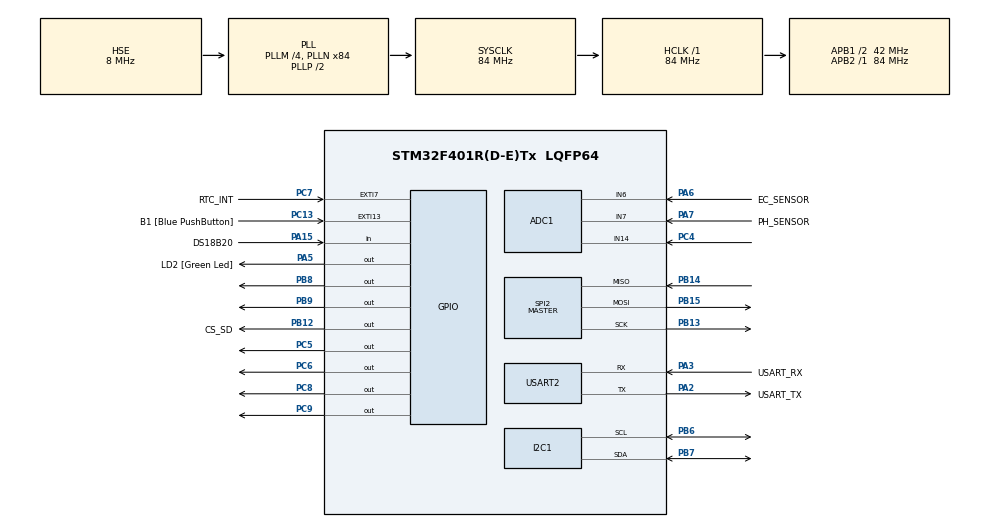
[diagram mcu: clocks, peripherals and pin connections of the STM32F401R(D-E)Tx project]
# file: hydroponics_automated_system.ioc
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ADC1.Channel-2\#ChannelRegularConversion=ADC_CHANNEL_6
ADC1.Channel-3\#ChannelRegularConversion=ADC_CHANNEL_7
ADC1.Channel-4\#ChannelRegularConversion=ADC_CHANNEL_14
ADC1.ContinuousConvMode=ENABLE
ADC1.DMAContinuousRequests=ENABLE
ADC1.EOCSelection=ADC_EOC_SEQ_CONV
ADC1.NbrOfConversion=3
ADC1.NbrOfConversionFlag=1
ADC1.Rank-2\#ChannelRegularConversion=1
ADC1.Rank-3\#ChannelRegularConversion=2
ADC1.Rank-4\#ChannelRegularConversion=3
ADC1.SamplingTime-2\#ChannelRegularConversion=ADC_SAMPLETIME_144CYCLES
ADC1.SamplingTime-3\#ChannelRegularConversion=ADC_SAMPLETIME_144CYCLES
ADC1.SamplingTime-4\#ChannelRegularConversion=ADC_SAMPLETIME_144CYCLES
ADC1.ScanConvMode=ENABLE
ADC1.master=1
Dma.ADC1.0.Direction=DMA_PERIPH_TO_MEMORY
Dma.ADC1.0.FIFOMode=DMA_FIFOMODE_DISABLE
Dma.ADC1.0.Instance=DMA2_Stream0
Dma.ADC1.0.MemDataAlignment=DMA_MDATAALIGN_HALFWORD
Dma.ADC1.0.MemInc=DMA_MINC_ENABLE
Dma.ADC1.0.Mode=DMA_CIRCULAR
Dma.ADC1.0.PeriphDataAlignment=DMA_PDATAALIGN_HALFWORD
Dma.ADC1.0.PeriphInc=DMA_PINC_DISABLE
Dma.ADC1.0.Priority=DMA_PRIORITY_LOW
Dma.Request0=ADC1
FREERTOS.Tasks01=defaultTask,24,128,StartDefaultTask,Default,NULL,Dynamic,NULL,NULL
FREERTOS.configENABLE_FPU=1
I2C1.I2C_Mode=I2C_Fast
Mcu.Family=STM32F4
Mcu.Name=STM32F401R(D-E)Tx
Mcu.Package=LQFP64
NVIC.DMA2_Stream0_IRQn=true\:5\:0\:false\:false\:true\:true\:false\:true\:true
NVIC.EXTI15_10_IRQn=true\:5\:0\:false\:false\:true\:true\:true\:true\:true
NVIC.EXTI9_5_IRQn=true\:5\:0\:false\:false\:true\:true\:true\:true\:true
NVIC.PriorityGroup=NVIC_PRIORITYGROUP_4
NVIC.TIM3_IRQn=true\:15\:0\:false\:false\:true\:false\:false\:true\:true
NVIC.TimeBase=TIM3_IRQn
NVIC.TimeBaseIP=TIM3
PA13.GPIO_Label=TMS
PA13.Mode=Serial_Wire
PA13.Signal=SYS_JTMS-SWDIO
PA14.GPIO_Label=TCK
PA14.Mode=Serial_Wire
PA14.Signal=SYS_JTCK-SWCLK
PA15.GPIO_Label=DS18B20
PA15.Signal=GPIO_Input
PA2.GPIO_Label=USART_TX
PA2.GPIO_Mode=GPIO_MODE_AF_PP
PA2.GPIO_PuPd=GPIO_NOPULL
PA2.GPIO_Speed=GPIO_SPEED_FREQ_LOW
PA2.Mode=Asynchronous
PA2.Signal=USART2_TX
PA3.GPIO_Label=USART_RX
PA3.GPIO_Mode=GPIO_MODE_AF_PP
PA3.GPIO_PuPd=GPIO_NOPULL
PA3.GPIO_Speed=GPIO_SPEED_FREQ_LOW
PA3.Mode=Asynchronous
PA3.Signal=USART2_RX
PA5.GPIO_Label=LD2 [Green Led]
PA5.GPIO_Mode=GPIO_MODE_OUTPUT_PP
PA5.GPIO_PuPd=GPIO_NOPULL
PA5.GPIO_Speed=GPIO_SPEED_FREQ_LOW
PA5.Signal=GPIO_Output
PA6.GPIO_Label=EC_SENSOR
PA6.Signal=ADCx_IN6
PA7.GPIO_Label=PH_SENSOR
PA7.Signal=ADCx_IN7
PB12.GPIO_Label=CS_SD
PB12.GPIO_Speed=GPIO_SPEED_FREQ_HIGH
PB12.Signal=GPIO_Output
PB13.Mode=Full_Duplex_Master
PB13.Signal=SPI2_SCK
PB14.Mode=Full_Duplex_Master
PB14.Signal=SPI2_MISO
PB15.Mode=Full_Duplex_Master
PB15.Signal=SPI2_MOSI
PB3.GPIO_Label=SWO
PB3.Signal=SYS_JTDO-SWO
PB6.Mode=I2C
PB6.Signal=I2C1_SCL
PB7.Mode=I2C
PB7.Signal=I2C1_SDA
PB8.Signal=GPIO_Output
PB9.Signal=GPIO_Output
PC13-ANTI_TAMP.GPIO_Label=B1 [Blue PushButton]
PC13-ANTI_TAMP.GPIO_ModeDefaultEXTI=GPIO_MODE_IT_FALLING
PC13-ANTI_TAMP.GPIO_PuPd=GPIO_NOPULL
PC13-ANTI_TAMP.Signal=GPXTI13
PC14-OSC32_IN.Mode=LSE-External-Oscillator
PC14-OSC32_IN.Signal=RCC_OSC32_IN
PC15-OSC32_OUT.Mode=LSE-External-Oscillator
PC15-OSC32_OUT.Signal=RCC_OSC32_OUT
PC4.Signal=ADCx_IN14
PC5.Signal=GPIO_Output
PC6.Signal=GPIO_Output
PC7.GPIO_Label=RTC_INT
PC7.GPIO_ModeDefaultEXTI=GPIO_MODE_IT_FALLING
PC7.GPIO_PuPd=GPIO_PULLUP
PC7.Signal=GPXTI7
PC8.Signal=GPIO_Output
PC9.Signal=GPIO_Output
PH0\ -\ OSC_IN.Mode=HSE-External-Clock-Source
PH0\ -\ OSC_IN.Signal=RCC_OSC_IN
PH1\ -\ OSC_OUT.Mode=HSE-External-Clock-Source
PH1\ -\ OSC_OUT.Signal=RCC_OSC_OUT
ProjectManager.HeapSize=0x200
ProjectManager.StackSize=0x400
ProjectManager.TargetToolchain=CMake
RCC.48MHZClocksFreq_Value=24000000
RCC.AHBFreq_Value=84000000
RCC.APB1CLKDivider=RCC_HCLK_DIV2
RCC.APB1Freq_Value=42000000
RCC.APB1TimFreq_Value=84000000
RCC.APB2Freq_Value=84000000
RCC.APB2TimFreq_Value=84000000
RCC.CortexFreq_Value=84000000
RCC.HCLKFreq_Value=84000000
RCC.HSE_VALUE=8000000
RCC.HSI_VALUE=16000000
RCC.PLLM=4
RCC.PLLN=84
RCC.PLLQ=7
RCC.PLLSourceVirtual=RCC_PLLSOURCE_HSE
RCC.SYSCLKFreq_VALUE=84000000
RCC.SYSCLKSource=RCC_SYSCLKSOURCE_PLLCLK
RCC.VCOOutputFreq_Value=168000000
SH.ADCx_IN14.0=ADC1_IN14,IN14
SH.ADCx_IN6.0=ADC1_IN6,IN6
SH.ADCx_IN7.0=ADC1_IN7,IN7
SPI2.BaudRatePrescaler=SPI_BAUDRATEPRESCALER_4
SPI2.Direction=SPI_DIRECTION_2LINES
SPI2.Mode=SPI_MODE_MASTER
SPI2.VirtualType=VM_MASTER
TIM1.Prescaler=83
USART2.VirtualMode=VM_ASYNC
VP_FREERTOS_VS_CMSIS_V2.Mode=CMSIS_V2
VP_SYS_VS_tim3.Mode=TIM3
VP_TIM1_VS_ClockSourceINT.Mode=Internal
board=NUCLEO-F401RE

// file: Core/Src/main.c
/* USER CODE BEGIN Header */
/**
  ******************************************************************************
  * @file           : main.c
  * @brief          : Main program body
  ******************************************************************************
  * @attention
  *
  * Copyright (c) 2026 STMicroelectronics.
  * All rights reserved.
  *
  * This software is licensed under terms that can be found in the LICENSE file
  * in the root directory of this software component.
  * If no LICENSE file comes with this software, it is provided AS-IS.
  *
  ******************************************************************************
  */
/* USER CODE END Header */
#include "main.h"
#include "cmsis_os.h"

/* USER CODE BEGIN Includes */
#include "st7066u_lcd_controller/st7066u_lcd_controller.h"
#include "display_iface/display_iface.h"
#include "i2c_manager/i2c_manager.h"
#include "bh1750/bh1750.h"
#include "sht30/sht30.h"
#include "analog_manager/analog_manager.h"
#include "ec_sensor_iface/ec_sensor_iface.h"
#include "ph_sensor_iface/ph_sensor_iface.h"
#include "light_sensor_iface/light_sensor_iface.h"
#include "temp_hum_sensor_iface/temp_hum_sensor_iface.h"
#include <stdio.h>

/* USER CODE END Includes */

ADC_HandleTypeDef hadc1;
DMA_HandleTypeDef hdma_adc1;

I2C_HandleTypeDef hi2c1;

SPI_HandleTypeDef hspi2;

TIM_HandleTypeDef htim1;

UART_HandleTypeDef huart2;

/* Definitions for defaultTask */

void SystemClock_Config(void);
static void MX_GPIO_Init(void);
static void MX_DMA_Init(void);
static void MX_USART2_UART_Init(void);
static void MX_I2C1_Init(void);
static void MX_TIM1_Init(void);
static void MX_ADC1_Init(void);
static void MX_SPI2_Init(void);

/* USER CODE BEGIN PFP */

//volatile bool rtc_int_flag = false;
//void HAL_GPIO_EXTI_Callback(uint16_t GPIO_Pin){
//	if(GPIO_Pin == RTC_INT_Pin){
//		//Read alarm flags
//		rtc_int_flag = true;
//	}
//}
/* USER CODE END PFP */

/* USER CODE BEGIN 0 */

void display_task(void *pvParameters){
	st7066u_lcd_controller_t lcd = {	.db_line[ST7066U_DATA_BUS_LINE_1] = {.port = GPIOC, .pin = GPIO_PIN_5},
										.db_line[ST7066U_DATA_BUS_LINE_2] = {.port = GPIOC, .pin = GPIO_PIN_6},
										.db_line[ST7066U_DATA_BUS_LINE_3] = {.port = GPIOC, .pin = GPIO_PIN_8},
										.db_line[ST7066U_DATA_BUS_LINE_4] = {.port = GPIOC, .pin = GPIO_PIN_9},
										.enable 						  = {.port = GPIOB, .pin = GPIO_PIN_8},
										.rs 							  = {.port = GPIOB, .pin = GPIO_PIN_9},
										.is_initialized 				  = false									};

	display_iface_t iface = {.dev = &lcd};
	display_iface_status_t status;
	st7066u_init(&lcd);
	status = display_iface_init(&iface);

	status = display_iface_write_line(&iface, 0, "[ Monitoring ]");
	status = display_iface_write_line(&iface, 1, "  Control");
	status = display_iface_write_line(&iface, 2, "  Config");
	status = display_iface_write_line(&iface, 3, "  Logs");
	HAL_Delay(1000);
	status = display_iface_write_line(&iface, 0, "  Monitoring  ");
	status = display_iface_write_line(&iface, 1, "[ Control ]");
	status = display_iface_write_line(&iface, 2, "  Config");
	status = display_iface_write_line(&iface, 3, "  Logs");
	HAL_Delay(1000);
	status = display_iface_write_line(&iface, 0, "  Monitoring  ");
	status = display_iface_write_line(&iface, 1, "  Control  ");
	status = display_iface_write_line(&iface, 2, "[ Config ]");
	status = display_iface_write_line(&iface, 3, "  Logs");
	HAL_Delay(1000);
	status = display_iface_write_line(&iface, 0, "  Monitoring  ");
	status = display_iface_write_line(&iface, 1, "  Control  ");
	status = display_iface_write_line(&iface, 2, "  Config  ");
	status = display_iface_write_line(&iface, 3, "[ Logs ]");
	HAL_Delay(1000);
	status = display_iface_write_line(&iface, 0, "[ Monitoring ]");
	status = display_iface_write_line(&iface, 1, "  Control  ");
	status = display_iface_write_line(&iface, 2, "  Config  ");
	status = display_iface_write_line(&iface, 3, "  Logs  ");
	HAL_Delay(1000);
	status = display_iface_write_line(&iface, 0, "  Monitoring  ");
	HAL_Delay(200);
	status = display_iface_write_line(&iface, 0, "[ Monitoring ]");
	HAL_Delay(1000);
	status = display_iface_write_line(&iface, 0, "Temperature:   ");
	status = display_iface_write_line(&iface, 1, "Humidity: ");
	status = display_iface_write_line(&iface, 2, "pH:      ");
	status = display_iface_write_line(&iface, 3, "EC:     ");

	while(1){
		vTaskDelay(pdMS_TO_TICKS(10));
	}
}

//Prueba
void sensor_task(void *pvParameter){
	i2c_manager_t mgr;
	static analog_manager_t analog_mgr;

	i2c_manager_init(&mgr, &hi2c1, 10);

	bool is_data_ready;

	//SHT30 configuration
	sht30_config_t sht30_cfg = {.mgr = &mgr, .clk_stretching = SHT30_CLK_STRETCHING_DISABLED,
								.repeatability = SHT30_HIGH_REPEATABILITY, .dev_address = 0x44 << 1	};
	sht30_t sht30_sensor;

	//BH1750 configuration
	bh1750_config_t bh1750_cfg = {.mgr = &mgr, .res_mode = BH1750_RESOLUTION_HIGH, .dev_address = 0x23 << 1};
	bh1750_t bh1750_sensor;

	//Analog manager config
	analog_manager_config_t analog_cfg = {.hadc = &hadc1, .adc_resolution = 4096, .vref = 3.3f, .channel_count = 3,
										  .signal_map = {ANALOG_SIGNAL_EC, ANALOG_SIGNAL_PH, ANALOG_SIGNAL_CT_CIRCULATION}};
	//EC sensor
	ec_sensor_iface_t ec_sensor;
	ec_sensor_iface_data_t ec_data;
	ec_sensor_iface_calibration_t calibration = {.slope = 2.0f, .offset = 0.0f};

	//PH sensor
	ph_sensor_iface_t ph_sensor;
	ph_sensor_iface_data_t ph_data;
	ph_sensor_iface_calibration_t ph_calib = {.slope_25 = 1.0f, .offset = 0.0f};

	//Light sensor
	light_sensor_iface_t light_sensor;
	light_sensor_iface_data_t light_data;

	//Temperature and hum sensor
	temp_hum_sensor_iface_t temp_hum_sensor;
	temp_hum_sensor_iface_data_t temp_hum_data;

	//Middleware init
	analog_manager_init(&analog_mgr, &analog_cfg);

	//Driver init
	sht30_init(&sht30_sensor, &sht30_cfg);
	bh1750_init(&bh1750_sensor, &bh1750_cfg);

	//Iface init
	ec_sensor_iface_init(&ec_sensor, &analog_mgr, ANALOG_SIGNAL_EC);
	ph_sensor_iface_init(&ph_sensor, &analog_mgr, ANALOG_SIGNAL_PH);
	light_sensor_iface_init(&light_sensor, &bh1750_sensor);
	temp_hum_sensor_iface_init(&temp_hum_sensor, &sht30_sensor);

	//Set calibration constants
	ec_sensor_iface_set_calibration(&ec_sensor, calibration);
	ph_sensor_iface_set_calibration(&ph_sensor, ph_calib);

	//Start analog manager
	analog_manager_start(&analog_mgr);

	float ec_voltage = 0.0f;
	float ph_voltage = 0.0f;
	float ct_voltage = 0.0f;
	TickType_t last_print_tick = xTaskGetTickCount();

	while(1){
		analog_manager_process(&analog_mgr);
		ec_sensor_iface_process(&ec_sensor, 25.0f);
		ph_sensor_iface_process(&ph_sensor, 25.0f);
		light_sensor_iface_process(&light_sensor);
		temp_hum_sensor_iface_process(&temp_hum_sensor);

		if(ec_sensor_iface_is_ready(&ec_sensor)){
			ec_sensor_iface_get_data(&ec_sensor, &ec_data);
		}

		if(ph_sensor_iface_is_ready(&ph_sensor)){
			ph_sensor_iface_get_data(&ph_sensor, &ph_data);
		}

		if(analog_manager_is_filter_ready(&analog_mgr, ANALOG_SIGNAL_CT_CIRCULATION)){
			ct_voltage = analog_manager_get_filtered_voltage(&analog_mgr, ANALOG_SIGNAL_CT_CIRCULATION);
		}

		if(light_sensor_iface_is_ready(&light_sensor)){
			light_sensor_iface_get_data(&light_sensor, &light_data);
		}

		if(temp_hum_sensor_iface_is_ready(&temp_hum_sensor)){
			temp_hum_sensor_iface_get_data(&temp_hum_sensor, &temp_hum_data);
		}

		TickType_t now = xTaskGetTickCount();
		if((now - last_print_tick) >= pdMS_TO_TICKS(5000)){
			printf("EC value: %.3f uS/cm\r\n", ec_data.ec_value);
			printf("pH value: %.3f V\r\n", ph_data.ph_value);
			printf("CT voltage: %.3f V\r\n", ct_voltage);
			printf("Temp value: %.2f C\r\n", temp_hum_data.temperature);
			printf("HR value: %.2f %%\r\n", temp_hum_data.humidity);
			printf("Lux value: %.2f %%\r\n", light_data.lux);
			printf("\r\n");
			last_print_tick = now;
		}

		light_sensor_iface_start_measurement(&light_sensor);
		temp_hum_sensor_iface_start_measurement(&temp_hum_sensor);
		vTaskDelay(pdMS_TO_TICKS(10));
	}
}

//void FatFsTask(void *pvParameters)
//{
//	logger_err_t err;
//	err = logger_start();
//
//	//Add logs
//	logger_data_t data = {
//							.environment_temp = 24.5,
//							.environment_hum  = 80.0,
//							.environment_lux  = 2000.0,
//							.solution_temp    = 23.5,
//							.solution_ph      = 7.0,
//							.solution_ec      = 100.0,
//							.is_solution_level_low = false,
//							.timestamp             = 1000
//						};
//
//	err = logger_log_data(&data);
//	data.environment_temp = 25.0;
//	err = logger_log_data(&data);
//
//	//Flush
//	err = logger_flush();
//
//	//Read
//	logger_data_t buffer[2] = {0};
//	uint32_t read_count;
//	err = logger_read_last_n_logs(2, buffer, &read_count);
//	err = logger_stop();
//    for(;;)
//    {
//        vTaskDelay(pdMS_TO_TICKS(1000));
//    }
//}
/* USER CODE END 0 */

int main(void)
{

  /* MCU Configuration--------------------------------------------------------*/

  /* Reset of all peripherals, Initializes the Flash interface and the Systick. */
  HAL_Init();

  /* Configure the system clock */
  SystemClock_Config();

  /* Initialize all configured peripherals */
  MX_GPIO_Init();
  MX_DMA_Init();
  MX_USART2_UART_Init();
  MX_I2C1_Init();
  MX_TIM1_Init();
  MX_ADC1_Init();
  MX_SPI2_Init();
  /* USER CODE BEGIN 2 */
  HAL_TIM_Base_Start(&htim1);
  printf("Inicio \n");
  //xTaskCreate(FatFsTask, "Fatfstask", 1024, NULL, tskIDLE_PRIORITY + 2, NULL);
  /* USER CODE END 2 */

  /* Init scheduler */

  /* Create the thread(s) */
  /* creation of defaultTask */

  /* USER CODE BEGIN RTOS_THREADS */
  xTaskCreate(sensor_task,"sensor_task" , 10 * configMINIMAL_STACK_SIZE, NULL, tskIDLE_PRIORITY + 1, NULL);
  /* USER CODE END RTOS_THREADS */

  /* Start scheduler */
  vTaskStartScheduler();

  /* We should never get here as control is now taken by the scheduler */

  /* Infinite loop */
  while (1)
  {

  }
}

void SystemClock_Config(void)
{
  RCC_OscInitTypeDef RCC_OscInitStruct = {0};
  RCC_ClkInitTypeDef RCC_ClkInitStruct = {0};

  /** Configure the main internal regulator output voltage
  */
  __HAL_RCC_PWR_CLK_ENABLE();
  __HAL_PWR_VOLTAGESCALING_CONFIG(PWR_REGULATOR_VOLTAGE_SCALE2);

  /** Initializes the RCC Oscillators according to the specified parameters
  * in the RCC_OscInitTypeDef structure.
  */
  RCC_OscInitStruct.OscillatorType = RCC_OSCILLATORTYPE_HSE;
  RCC_OscInitStruct.HSEState = RCC_HSE_BYPASS;
  RCC_OscInitStruct.PLL.PLLState = RCC_PLL_ON;
  RCC_OscInitStruct.PLL.PLLSource = RCC_PLLSOURCE_HSE;
  RCC_OscInitStruct.PLL.PLLM = 4;
  RCC_OscInitStruct.PLL.PLLN = 84;
  RCC_OscInitStruct.PLL.PLLP = RCC_PLLP_DIV2;
  RCC_OscInitStruct.PLL.PLLQ = 7;
  if (HAL_RCC_OscConfig(&RCC_OscInitStruct) != HAL_OK)
  {
    Error_Handler();
  }

  /** Initializes the CPU, AHB and APB buses clocks
  */
  RCC_ClkInitStruct.ClockType = RCC_CLOCKTYPE_HCLK|RCC_CLOCKTYPE_SYSCLK
                              |RCC_CLOCKTYPE_PCLK1|RCC_CLOCKTYPE_PCLK2;
  RCC_ClkInitStruct.SYSCLKSource = RCC_SYSCLKSOURCE_PLLCLK;
  RCC_ClkInitStruct.AHBCLKDivider = RCC_SYSCLK_DIV1;
  RCC_ClkInitStruct.APB1CLKDivider = RCC_HCLK_DIV2;
  RCC_ClkInitStruct.APB2CLKDivider = RCC_HCLK_DIV1;

  if (HAL_RCC_ClockConfig(&RCC_ClkInitStruct, FLASH_LATENCY_2) != HAL_OK)
  {
    Error_Handler();
  }
}

static void MX_ADC1_Init(void)
{

  ADC_ChannelConfTypeDef sConfig = {0};

  /** Configure the global features of the ADC (Clock, Resolution, Data Alignment and number of conversion)
  */
  hadc1.Instance = ADC1;
  hadc1.Init.ClockPrescaler = ADC_CLOCK_SYNC_PCLK_DIV4;
  hadc1.Init.Resolution = ADC_RESOLUTION_12B;
  hadc1.Init.ScanConvMode = ENABLE;
  hadc1.Init.ContinuousConvMode = ENABLE;
  hadc1.Init.DiscontinuousConvMode = DISABLE;
  hadc1.Init.ExternalTrigConvEdge = ADC_EXTERNALTRIGCONVEDGE_NONE;
  hadc1.Init.ExternalTrigConv = ADC_SOFTWARE_START;
  hadc1.Init.DataAlign = ADC_DATAALIGN_RIGHT;
  hadc1.Init.NbrOfConversion = 3;
  hadc1.Init.DMAContinuousRequests = ENABLE;
  hadc1.Init.EOCSelection = ADC_EOC_SEQ_CONV;
  if (HAL_ADC_Init(&hadc1) != HAL_OK)
  {
    Error_Handler();
  }

  /** Configure for the selected ADC regular channel its corresponding rank in the sequencer and its sample time.
  */
  sConfig.Channel = ADC_CHANNEL_6;
  sConfig.Rank = 1;
  sConfig.SamplingTime = ADC_SAMPLETIME_144CYCLES;
  if (HAL_ADC_ConfigChannel(&hadc1, &sConfig) != HAL_OK)
  {
    Error_Handler();
  }

  /** Configure for the selected ADC regular channel its corresponding rank in the sequencer and its sample time.
  */
  sConfig.Channel = ADC_CHANNEL_7;
  sConfig.Rank = 2;
  if (HAL_ADC_ConfigChannel(&hadc1, &sConfig) != HAL_OK)
  {
    Error_Handler();
  }

  /** Configure for the selected ADC regular channel its corresponding rank in the sequencer and its sample time.
  */
  sConfig.Channel = ADC_CHANNEL_14;
  sConfig.Rank = 3;
  if (HAL_ADC_ConfigChannel(&hadc1, &sConfig) != HAL_OK)
  {
    Error_Handler();
  }

}

static void MX_I2C1_Init(void)
{

  hi2c1.Instance = I2C1;
  hi2c1.Init.ClockSpeed = 400000;
  hi2c1.Init.DutyCycle = I2C_DUTYCYCLE_2;
  hi2c1.Init.OwnAddress1 = 0;
  hi2c1.Init.AddressingMode = I2C_ADDRESSINGMODE_7BIT;
  hi2c1.Init.DualAddressMode = I2C_DUALADDRESS_DISABLE;
  hi2c1.Init.OwnAddress2 = 0;
  hi2c1.Init.GeneralCallMode = I2C_GENERALCALL_DISABLE;
  hi2c1.Init.NoStretchMode = I2C_NOSTRETCH_DISABLE;
  if (HAL_I2C_Init(&hi2c1) != HAL_OK)
  {
    Error_Handler();
  }

}

static void MX_SPI2_Init(void)
{

  /* SPI2 parameter configuration*/
  hspi2.Instance = SPI2;
  hspi2.Init.Mode = SPI_MODE_MASTER;
  hspi2.Init.Direction = SPI_DIRECTION_2LINES;
  hspi2.Init.DataSize = SPI_DATASIZE_8BIT;
  hspi2.Init.CLKPolarity = SPI_POLARITY_LOW;
  hspi2.Init.CLKPhase = SPI_PHASE_1EDGE;
  hspi2.Init.NSS = SPI_NSS_SOFT;
  hspi2.Init.BaudRatePrescaler = SPI_BAUDRATEPRESCALER_4;
  hspi2.Init.FirstBit = SPI_FIRSTBIT_MSB;
  hspi2.Init.TIMode = SPI_TIMODE_DISABLE;
  hspi2.Init.CRCCalculation = SPI_CRCCALCULATION_DISABLE;
  hspi2.Init.CRCPolynomial = 10;
  if (HAL_SPI_Init(&hspi2) != HAL_OK)
  {
    Error_Handler();
  }

}

static void MX_TIM1_Init(void)
{

  TIM_ClockConfigTypeDef sClockSourceConfig = {0};
  TIM_MasterConfigTypeDef sMasterConfig = {0};

  htim1.Instance = TIM1;
  htim1.Init.Prescaler = 83;
  htim1.Init.CounterMode = TIM_COUNTERMODE_UP;
  htim1.Init.Period = 65535;
  htim1.Init.ClockDivision = TIM_CLOCKDIVISION_DIV1;
  htim1.Init.RepetitionCounter = 0;
  htim1.Init.AutoReloadPreload = TIM_AUTORELOAD_PRELOAD_DISABLE;
  if (HAL_TIM_Base_Init(&htim1) != HAL_OK)
  {
    Error_Handler();
  }
  sClockSourceConfig.ClockSource = TIM_CLOCKSOURCE_INTERNAL;
  if (HAL_TIM_ConfigClockSource(&htim1, &sClockSourceConfig) != HAL_OK)
  {
    Error_Handler();
  }
  sMasterConfig.MasterOutputTrigger = TIM_TRGO_RESET;
  sMasterConfig.MasterSlaveMode = TIM_MASTERSLAVEMODE_DISABLE;
  if (HAL_TIMEx_MasterConfigSynchronization(&htim1, &sMasterConfig) != HAL_OK)
  {
    Error_Handler();
  }

}

static void MX_USART2_UART_Init(void)
{

  huart2.Instance = USART2;
  huart2.Init.BaudRate = 115200;
  huart2.Init.WordLength = UART_WORDLENGTH_8B;
  huart2.Init.StopBits = UART_STOPBITS_1;
  huart2.Init.Parity = UART_PARITY_NONE;
  huart2.Init.Mode = UART_MODE_TX_RX;
  huart2.Init.HwFlowCtl = UART_HWCONTROL_NONE;
  huart2.Init.OverSampling = UART_OVERSAMPLING_16;
  if (HAL_UART_Init(&huart2) != HAL_OK)
  {
    Error_Handler();
  }

}

static void MX_DMA_Init(void)
{

  /* DMA controller clock enable */
  __HAL_RCC_DMA2_CLK_ENABLE();

  /* DMA interrupt init */
  /* DMA2_Stream0_IRQn interrupt configuration */
  HAL_NVIC_SetPriority(DMA2_Stream0_IRQn, 5, 0);
  HAL_NVIC_EnableIRQ(DMA2_Stream0_IRQn);

}

static void MX_GPIO_Init(void)
{
  GPIO_InitTypeDef GPIO_InitStruct = {0};

  /* GPIO Ports Clock Enable */
  __HAL_RCC_GPIOC_CLK_ENABLE();
  __HAL_RCC_GPIOH_CLK_ENABLE();
  __HAL_RCC_GPIOA_CLK_ENABLE();
  __HAL_RCC_GPIOB_CLK_ENABLE();

  /*Configure GPIO pin Output Level */
  HAL_GPIO_WritePin(LD2_GPIO_Port, LD2_Pin, GPIO_PIN_RESET);

  /*Configure GPIO pin Output Level */
  HAL_GPIO_WritePin(GPIOC, GPIO_PIN_5|GPIO_PIN_6|GPIO_PIN_8|GPIO_PIN_9, GPIO_PIN_RESET);

  /*Configure GPIO pin Output Level */
  HAL_GPIO_WritePin(GPIOB, CS_SD_Pin|GPIO_PIN_8|GPIO_PIN_9, GPIO_PIN_RESET);

  /*Configure GPIO pin : B1_Pin */
  GPIO_InitStruct.Pin = B1_Pin;
  GPIO_InitStruct.Mode = GPIO_MODE_IT_FALLING;
  GPIO_InitStruct.Pull = GPIO_NOPULL;
  HAL_GPIO_Init(B1_GPIO_Port, &GPIO_InitStruct);

  /*Configure GPIO pin : LD2_Pin */
  GPIO_InitStruct.Pin = LD2_Pin;
  GPIO_InitStruct.Mode = GPIO_MODE_OUTPUT_PP;
  GPIO_InitStruct.Pull = GPIO_NOPULL;
  GPIO_InitStruct.Speed = GPIO_SPEED_FREQ_LOW;
  HAL_GPIO_Init(LD2_GPIO_Port, &GPIO_InitStruct);

  /*Configure GPIO pins : PC5 PC6 PC8 PC9 */
  GPIO_InitStruct.Pin = GPIO_PIN_5|GPIO_PIN_6|GPIO_PIN_8|GPIO_PIN_9;
  GPIO_InitStruct.Mode = GPIO_MODE_OUTPUT_PP;
  GPIO_InitStruct.Pull = GPIO_NOPULL;
  GPIO_InitStruct.Speed = GPIO_SPEED_FREQ_LOW;
  HAL_GPIO_Init(GPIOC, &GPIO_InitStruct);

  /*Configure GPIO pin : CS_SD_Pin */
  GPIO_InitStruct.Pin = CS_SD_Pin;
  GPIO_InitStruct.Mode = GPIO_MODE_OUTPUT_PP;
  GPIO_InitStruct.Pull = GPIO_NOPULL;
  GPIO_InitStruct.Speed = GPIO_SPEED_FREQ_HIGH;
  HAL_GPIO_Init(CS_SD_GPIO_Port, &GPIO_InitStruct);

  /*Configure GPIO pin : RTC_INT_Pin */
  GPIO_InitStruct.Pin = RTC_INT_Pin;
  GPIO_InitStruct.Mode = GPIO_MODE_IT_FALLING;
  GPIO_InitStruct.Pull = GPIO_PULLUP;
  HAL_GPIO_Init(RTC_INT_GPIO_Port, &GPIO_InitStruct);

  /*Configure GPIO pin : DS18B20_Pin */
  GPIO_InitStruct.Pin = DS18B20_Pin;
  GPIO_InitStruct.Mode = GPIO_MODE_INPUT;
  GPIO_InitStruct.Pull = GPIO_NOPULL;
  HAL_GPIO_Init(DS18B20_GPIO_Port, &GPIO_InitStruct);

  /*Configure GPIO pins : PB8 PB9 */
  GPIO_InitStruct.Pin = GPIO_PIN_8|GPIO_PIN_9;
  GPIO_InitStruct.Mode = GPIO_MODE_OUTPUT_PP;
  GPIO_InitStruct.Pull = GPIO_NOPULL;
  GPIO_InitStruct.Speed = GPIO_SPEED_FREQ_LOW;
  HAL_GPIO_Init(GPIOB, &GPIO_InitStruct);

  /* EXTI interrupt init*/
  HAL_NVIC_SetPriority(EXTI9_5_IRQn, 5, 0);
  HAL_NVIC_EnableIRQ(EXTI9_5_IRQn);

  HAL_NVIC_SetPriority(EXTI15_10_IRQn, 5, 0);
  HAL_NVIC_EnableIRQ(EXTI15_10_IRQn);

}

/* USER CODE BEGIN 4 */
int _write(int file, char *ptr, int len)
{
  (void)file;
  int DataIdx;

  for (DataIdx = 0; DataIdx < len; DataIdx++)
  {
    ITM_SendChar(*ptr++);
  }
  return len;
}
/* USER CODE END 4 */

void StartDefaultTask(void *argument)
{
  for(;;)
  {
    osDelay(1);
  }
}

void HAL_TIM_PeriodElapsedCallback(TIM_HandleTypeDef *htim)
{
  if (htim->Instance == TIM3)
  {
    HAL_IncTick();
  }
}

void Error_Handler(void)
{
  __disable_irq();
  while (1)
  {
  }
}
